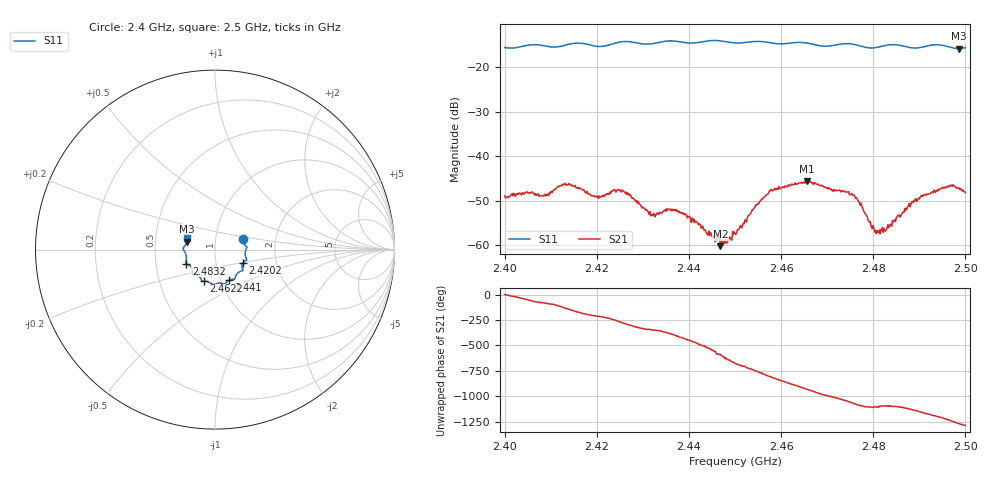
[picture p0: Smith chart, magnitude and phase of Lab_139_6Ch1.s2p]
# Hz S RI R 50
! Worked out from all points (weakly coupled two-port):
!   601 points, 2.4 GHz to 2.5 GHz, reference 50 ohm
!   highest |S21| = -45.60 dB at 2.4657 GHz (marker M1); lowest = -60.2 dB at 2.4468 GHz (marker M2)
!   lowest |S11| = -15.8 dB at 2.4987 GHz (marker M3), VSWR 1.39, Z = 36.4 + j3.37 ohm
!   |S11| at or under -10 dB: start of sweep to end of sweep
!   S12 and S22 are empty: the file has one direction only
!   S11 on the Smith chart (normalised r, x): 2.4 GHz: 1.36, +0.17; 2.4202 GHz: 1.35, -0.20; 2.441 GHz: 1.09, -0.39; 2.4622 GHz: 0.83, -0.30; 2.4832 GHz: 0.72, -0.12; 2.5 GHz: 0.73, +0.10
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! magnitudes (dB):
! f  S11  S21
! 2.4 GHz  -15.5  -48.9
! 2.409 GHz  -15.2  -48.5
! 2.413 GHz  -15.1  -46.4
! 2.4167 GHz  -14.6  -47.4
! 2.4202 GHz  -15.3  -49.0
! 2.4252 GHz  -14.3  -47.6
! 2.4333 GHz  -14.4  -52.8
! 2.4372 GHz  -14.1  -51.9
! 2.441 GHz  -14.5  -54.8
! 2.4468 GHz  -14.1  -60.2
! 2.45 GHz  -14.5  -57.4
! 2.4573 GHz  -14.4  -48.2
! 2.4622 GHz  -14.5  -46.5
! 2.4657 GHz  -14.5  -45.6
! 2.4667 GHz  -14.8  -46.0
! 2.4755 GHz  -14.8  -48.7
! 2.4802 GHz  -15.6  -56.4
! 2.4832 GHz  -15.0  -55.4
! 2.4833 GHz  -15.0  -56.1
! 2.4907 GHz  -15.5  -48.7
! 2.4987 GHz  -15.8  -47.3
! 2.5 GHz  -15.6  -48.2
